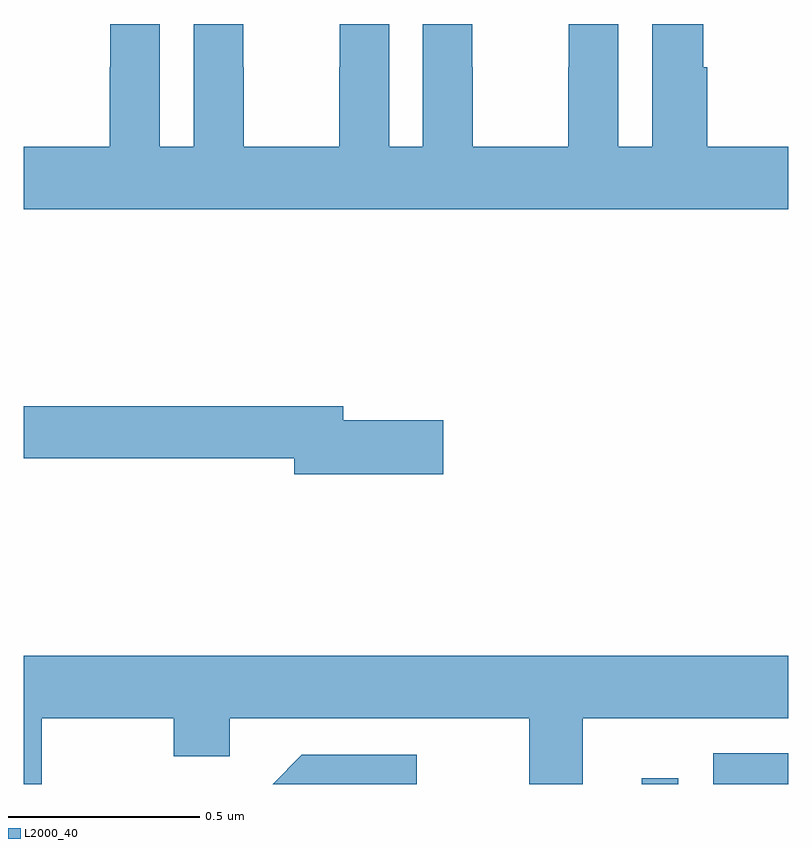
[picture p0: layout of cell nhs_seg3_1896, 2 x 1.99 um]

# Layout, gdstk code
import gdstk
lib = gdstk.Library(unit=1e-6, precision=1e-09)
def R(c, l, rs):  # rectangles x0, y0, x1, y1
    for r in rs: c.add(gdstk.rectangle(r[:2], r[2:], *l))
def P(c, l, *ps):  # polygons
    for p in ps: c.add(gdstk.Polygon(p, *l))
L2000_40 = (2000, 40)

nhs_seg3_1896 = lib.new_cell('nhs_seg3_1896')
R(nhs_seg3_1896, L2000_40, [(135.617,711.4,135.713,711.415), (135.804,711.4,136,711.48)])
P(nhs_seg3_1896, L2000_40, [(136,713.068),(135.788,713.068),(135.788,713.276),(135.778,713.276),(135.778,713.389),(135.644,713.389),(135.644,713.068),(135.556,713.068),(135.556,713.389),(135.426,713.389),(135.426,713.276),(135.425,713.276),(135.425,713.068),(135.175,713.068),(135.175,713.276),(135.174,713.276),(135.174,713.389),(135.044,713.389),(135.044,713.068),(134.956,713.068),(134.956,713.389),(134.826,713.389),(134.826,713.276),(134.825,713.276),(134.825,713.068),(134.575,713.068),(134.575,713.276),(134.574,713.276),(134.574,713.389),(134.444,713.389),(134.444,713.068),(134.356,713.068),(134.356,713.389),(134.226,713.389),(134.226,713.276),(134.225,713.276),(134.225,713.068),(134,713.068),(134,712.904),(136,712.904)],
  [(135.097,712.352),(134.836,712.352),(134.836,712.388),(134,712.388),(134,712.252),(134.708,712.252),(134.708,712.21),(135.097,712.21)],
  [(134.047,711.572),(134.392,711.572),(134.392,711.473),(134.539,711.473),(134.539,711.572),(135.323,711.572),(135.323,711.4),(135.463,711.4),(135.463,711.572),(136,711.572),(136,711.736),(134,711.736),(134,711.4),(134.047,711.4)],
  [(135.028,711.477),(134.727,711.477),(134.651,711.4),(135.028,711.4)])

lib.write_gds('nhs_seg3_1896.gds')
